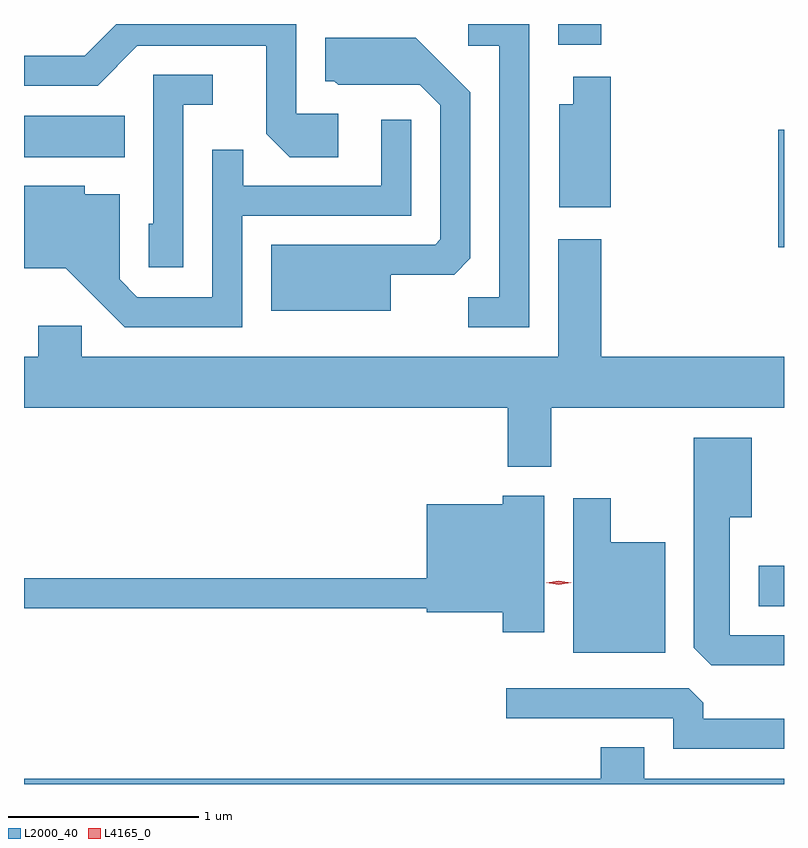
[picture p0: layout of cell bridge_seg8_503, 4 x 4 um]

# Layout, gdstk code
import gdstk
lib = gdstk.Library(unit=1e-6, precision=1e-09)
def R(c, l, rs):  # rectangles x0, y0, x1, y1
    for r in rs: c.add(gdstk.rectangle(r[:2], r[2:], *l))
def P(c, l, *ps):  # polygons
    for p in ps: c.add(gdstk.Polygon(p, *l))
L2000_40 = (2000, 40)
L4165_0 = (4165, 0)

bridge_seg8_503 = lib.new_cell('bridge_seg8_503')
R(bridge_seg8_503, L2000_40, [(241.061,1868.671,241.195,1868.884), (241.166,1870.561,241.195,1871.179), (237.195,1871.036,237.724,1871.254), (240.006,1871.626,240.234,1871.736)])
P(bridge_seg8_503, L2000_40, [(239.854,1871.736),(239.533,1871.736),(239.533,1871.621),(239.696,1871.621),(239.696,1870.299),(239.533,1870.299),(239.533,1870.141),(239.854,1870.141)],
  [(238.849,1871.264),(238.629,1871.264),(238.629,1871.736),(237.681,1871.736),(237.514,1871.569),(237.195,1871.569),(237.195,1871.411),(237.582,1871.411),(237.792,1871.621),(238.471,1871.621),(238.471,1871.159),(238.594,1871.036),(238.849,1871.036)],
  [(239.124,1870.416),(239.459,1870.416),(239.544,1870.502),(239.544,1871.377),(239.257,1871.664),(238.781,1871.664),(238.781,1871.436),(238.829,1871.436),(238.849,1871.416),(239.279,1871.416),(239.386,1871.309),(239.386,1870.602),(239.359,1870.574),(238.496,1870.574),(238.496,1870.226),(239.124,1870.226)],
  [(238.034,1871.311),(238.188,1871.311),(238.188,1871.469),(237.876,1871.469),(237.876,1870.684),(237.851,1870.684),(237.851,1870.456),(238.034,1870.456)],
  [(240.284,1871.459),(240.086,1871.459),(240.086,1871.314),(240.011,1871.314),(240.011,1870.771),(240.284,1870.771)],
  [(238.344,1870.726),(239.234,1870.726),(239.234,1871.233),(239.076,1871.233),(239.076,1870.884),(238.349,1870.884),(238.349,1871.073),(238.186,1871.073),(238.186,1870.299),(237.792,1870.299),(237.699,1870.392),(237.699,1870.839),(237.514,1870.839),(237.514,1870.884),(237.195,1870.884),(237.195,1870.451),(237.414,1870.451),(237.724,1870.141),(238.344,1870.141)],
  [(239.969,1869.716),(241.195,1869.716),(241.195,1869.984),(240.234,1869.984),(240.234,1870.604),(240.006,1870.604),(240.006,1869.984),(237.499,1869.984),(237.499,1870.149),(237.271,1870.149),(237.271,1869.984),(237.195,1869.984),(237.195,1869.716),(239.741,1869.716),(239.741,1869.406),(239.969,1869.406)],
  [(241.195,1868.519),(240.909,1868.519),(240.909,1869.141),(241.024,1869.141),(241.024,1869.559),(240.721,1869.559),(240.721,1868.452),(240.812,1868.361),(241.195,1868.361)],
  [(239.934,1869.254),(239.716,1869.254),(239.716,1869.209),(239.316,1869.209),(239.316,1868.819),(237.195,1868.819),(237.195,1868.661),(239.316,1868.661),(239.316,1868.641),(239.716,1868.641),(239.716,1868.536),(239.934,1868.536)],
  [(240.569,1869.009),(240.284,1869.009),(240.284,1869.239),(240.086,1869.239),(240.086,1868.426),(240.569,1868.426)],
  [(241.195,1868.079),(240.769,1868.079),(240.769,1868.164),(240.694,1868.239),(239.733,1868.239),(239.733,1868.081),(240.611,1868.081),(240.611,1867.921),(241.195,1867.921)],
  [(241.195,1867.764),(240.459,1867.764),(240.459,1867.929),(240.231,1867.929),(240.231,1867.764),(237.195,1867.764),(237.195,1867.736),(241.195,1867.736)])
P(bridge_seg8_503, L4165_0, [(240.009,1868.785),(239.944,1868.795),(239.943,1868.796),(239.944,1868.796),(240.01,1868.805),(240.076,1868.795),(240.076,1868.794),(240.076,1868.794)])

lib.write_gds('bridge_seg8_503.gds')
